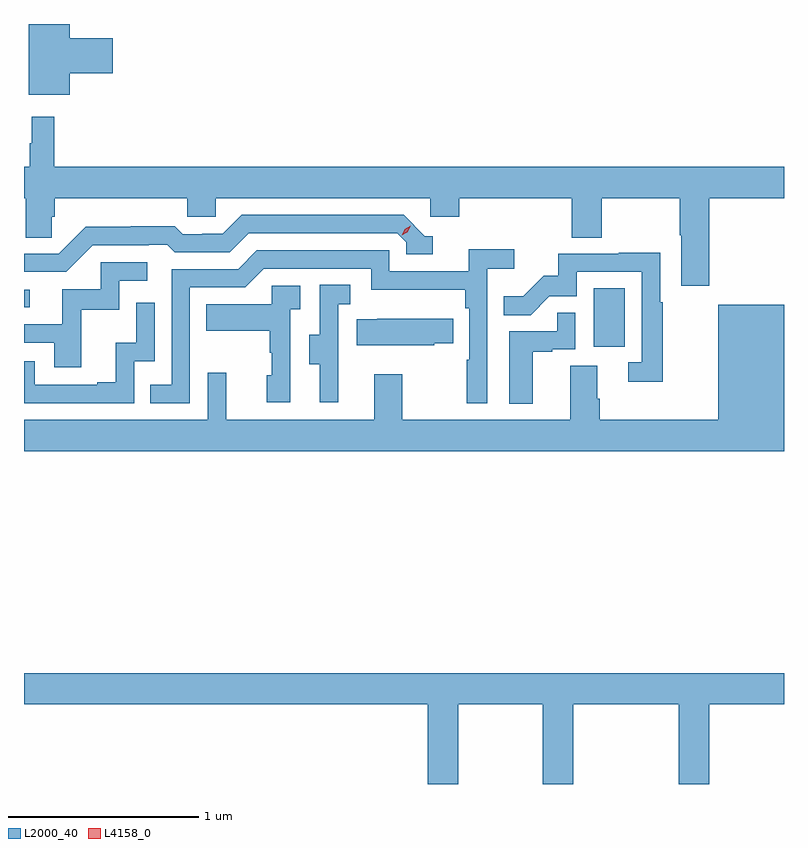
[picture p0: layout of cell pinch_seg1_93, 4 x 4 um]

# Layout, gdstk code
import gdstk
lib = gdstk.Library(unit=1e-6, precision=1e-09)
def R(c, l, rs):  # rectangles x0, y0, x1, y1
    for r in rs: c.add(gdstk.rectangle(r[:2], r[2:], *l))
def P(c, l, *ps):  # polygons
    for p in ps: c.add(gdstk.Polygon(p, *l))
L2000_40 = (2000, 40)
L4158_0 = (4158, 0)

pinch_seg1_93 = lib.new_cell('pinch_seg1_93')
R(pinch_seg1_93, L2000_40, [(1062.464,556.278,1062.628,556.585), (1059.465,556.485,1059.496,556.578)])
P(pinch_seg1_93, L2000_40, [(1059.706,557.717),(1059.931,557.717),(1059.931,557.9),(1059.706,557.9),(1059.706,557.976),(1059.491,557.976),(1059.491,557.603),(1059.706,557.603)],
  [(1063.071,557.06),(1063.465,557.06),(1063.465,557.224),(1059.623,557.224),(1059.623,557.488),(1059.506,557.488),(1059.506,557.348),(1059.495,557.348),(1059.495,557.224),(1059.465,557.224),(1059.465,557.06),(1059.474,557.06),(1059.474,556.852),(1059.611,556.852),(1059.611,556.962),(1059.626,556.962),(1059.626,557.06),(1060.323,557.06),(1060.323,556.962),(1060.473,556.962),(1060.473,557.06),(1061.604,557.06),(1061.604,556.962),(1061.756,556.962),(1061.756,557.06),(1062.347,557.06),(1062.347,556.852),(1062.507,556.852),(1062.507,557.06),(1062.916,557.06),(1062.916,556.864),(1062.923,556.864),(1062.923,556.599),(1063.071,556.599)],
  [(1059.828,556.812),(1060.121,556.812),(1060.121,556.815),(1060.22,556.815),(1060.259,556.776),(1060.548,556.776),(1060.647,556.875),(1061.43,556.875),(1061.478,556.827),(1061.478,556.764),(1061.617,556.764),(1061.617,556.86),(1061.574,556.86),(1061.463,556.971),(1060.61,556.971),(1060.511,556.872),(1060.404,556.872),(1060.404,556.869),(1060.301,556.869),(1060.259,556.912),(1060.026,556.912),(1060.026,556.909),(1059.79,556.909),(1059.648,556.767),(1059.465,556.767),(1059.465,556.671),(1059.687,556.671)],
  [(1060.338,556.59),(1060.629,556.59),(1060.728,556.689),(1061.292,556.689),(1061.292,556.577),(1061.788,556.577),(1061.788,556.481),(1061.808,556.481),(1061.808,556.208),(1061.796,556.208),(1061.796,555.981),(1061.904,555.981),(1061.904,556.688),(1062.046,556.688),(1062.046,556.79),(1061.807,556.79),(1061.807,556.674),(1061.388,556.674),(1061.388,556.785),(1060.691,556.785),(1060.592,556.686),(1060.242,556.686),(1060.242,556.077),(1060.129,556.077),(1060.129,555.981),(1060.338,555.981)],
  [(1062.826,556.511),(1062.813,556.511),(1062.813,556.772),(1062.595,556.772),(1062.595,556.767),(1062.277,556.767),(1062.277,556.65),(1062.2,556.65),(1062.093,556.543),(1061.989,556.543),(1061.989,556.444),(1062.132,556.444),(1062.23,556.542),(1062.375,556.542),(1062.375,556.671),(1062.717,556.671),(1062.717,556.197),(1062.645,556.197),(1062.645,556.092),(1062.826,556.092)],
  [(1059.767,556.473),(1059.966,556.473),(1059.966,556.626),(1060.114,556.626),(1060.114,556.722),(1059.87,556.722),(1059.87,556.581),(1059.665,556.581),(1059.665,556.395),(1059.465,556.395),(1059.465,556.299),(1059.623,556.299),(1059.623,556.17),(1059.767,556.17)],
  [(1061.12,556.197),(1061.118,556.197),(1061.118,556.501),(1061.182,556.501),(1061.182,556.604),(1061.022,556.604),(1061.022,556.341),(1060.967,556.341),(1060.967,556.186),(1061.021,556.186),(1061.021,555.984),(1061.12,555.984)],
  [(1060.866,556.475),(1060.918,556.475),(1060.918,556.599),(1060.77,556.599),(1060.77,556.501),(1060.423,556.501),(1060.423,556.361),(1060.758,556.361),(1060.758,556.247),(1060.768,556.247),(1060.768,556.128),(1060.742,556.128),(1060.742,555.984),(1060.866,555.984)],
  [(1060.044,556.2),(1060.152,556.2),(1060.152,556.51),(1060.056,556.51),(1060.056,556.298),(1059.947,556.298),(1059.947,556.09),(1059.851,556.09),(1059.851,556.077),(1059.522,556.077),(1059.522,556.2),(1059.465,556.2),(1059.465,555.981),(1060.044,555.981)],
  [(1063.465,556.498),(1063.118,556.498),(1063.118,555.892),(1062.494,555.892),(1062.494,556.004),(1062.481,556.004),(1062.481,556.178),(1062.341,556.178),(1062.341,555.892),(1061.457,555.892),(1061.457,556.132),(1061.309,556.132),(1061.309,555.892),(1060.529,555.892),(1060.529,556.141),(1060.431,556.141),(1060.431,555.892),(1059.465,555.892),(1059.465,555.728),(1063.465,555.728)],
  [(1062.142,556.251),(1062.245,556.251),(1062.245,556.263),(1062.366,556.263),(1062.366,556.457),(1062.271,556.457),(1062.271,556.359),(1062.02,556.359),(1062.02,555.977),(1062.142,555.977)],
  [(1061.625,556.297),(1061.723,556.297),(1061.723,556.426),(1061.323,556.426),(1061.323,556.423),(1061.215,556.423),(1061.215,556.286),(1061.625,556.286)],
  [(1061.751,554.396),(1062.196,554.396),(1062.196,553.976),(1062.356,553.976),(1062.356,554.396),(1062.911,554.396),(1062.911,553.976),(1063.071,553.976),(1063.071,554.396),(1063.465,554.396),(1063.465,554.56),(1059.465,554.56),(1059.465,554.396),(1061.591,554.396),(1061.591,553.976),(1061.751,553.976)])
P(pinch_seg1_93, L4158_0, [(1061.452,556.863),(1061.452,556.863),(1061.469,556.895),(1061.5,556.914),(1061.5,556.914),(1061.5,556.913),(1061.483,556.881),(1061.452,556.863)])

lib.write_gds('pinch_seg1_93.gds')
